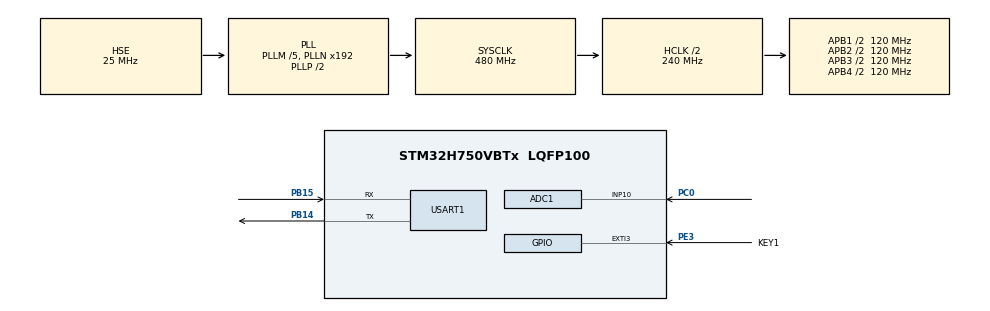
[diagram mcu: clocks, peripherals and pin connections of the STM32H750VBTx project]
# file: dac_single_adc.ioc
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ADC1.Channel-0\#ChannelRegularConversion=ADC_CHANNEL_10
ADC1.ConversionDataManagement=ADC_CONVERSIONDATA_DMA_CIRCULAR
ADC1.ExternalTrigConv=ADC_EXTERNALTRIG_T15_TRGO
ADC1.NbrOfConversionFlag=1
ADC1.OffsetNumber-0\#ChannelRegularConversion=ADC_OFFSET_NONE
ADC1.OffsetSignedSaturation-0\#ChannelRegularConversion=DISABLE
ADC1.Rank-0\#ChannelRegularConversion=1
ADC1.SamplingTime-0\#ChannelRegularConversion=ADC_SAMPLETIME_1CYCLE_5
ADC1.master=1
CORTEX_M7.AccessPermission-Cortex_Memory_Protection_Unit_Region0_Settings=MPU_REGION_FULL_ACCESS
CORTEX_M7.AccessPermission-Cortex_Memory_Protection_Unit_Region1_Settings=MPU_REGION_FULL_ACCESS
CORTEX_M7.AccessPermission-Cortex_Memory_Protection_Unit_Region2_Settings=MPU_REGION_FULL_ACCESS
CORTEX_M7.AccessPermission-Cortex_Memory_Protection_Unit_Region3_Settings=MPU_REGION_FULL_ACCESS
CORTEX_M7.AccessPermission-Cortex_Memory_Protection_Unit_Region4_Settings=MPU_REGION_FULL_ACCESS
CORTEX_M7.BaseAddress-Cortex_Memory_Protection_Unit_Region0_Settings=0x24000000
CORTEX_M7.BaseAddress-Cortex_Memory_Protection_Unit_Region1_Settings=0x30000000
CORTEX_M7.BaseAddress-Cortex_Memory_Protection_Unit_Region2_Settings=0x30020000
CORTEX_M7.BaseAddress-Cortex_Memory_Protection_Unit_Region3_Settings=0x30040000
CORTEX_M7.BaseAddress-Cortex_Memory_Protection_Unit_Region4_Settings=0x38000000
CORTEX_M7.CPU_DCache=Enabled
CORTEX_M7.CPU_ICache=Enabled
CORTEX_M7.Enable-Cortex_Memory_Protection_Unit_Region0_Settings=MPU_REGION_ENABLE
CORTEX_M7.Enable-Cortex_Memory_Protection_Unit_Region1_Settings=MPU_REGION_ENABLE
CORTEX_M7.Enable-Cortex_Memory_Protection_Unit_Region2_Settings=MPU_REGION_ENABLE
CORTEX_M7.Enable-Cortex_Memory_Protection_Unit_Region3_Settings=MPU_REGION_ENABLE
CORTEX_M7.Enable-Cortex_Memory_Protection_Unit_Region4_Settings=MPU_REGION_ENABLE
CORTEX_M7.IsBufferable-Cortex_Memory_Protection_Unit_Region0_Settings=MPU_ACCESS_BUFFERABLE
CORTEX_M7.IsCacheable-Cortex_Memory_Protection_Unit_Region0_Settings=MPU_ACCESS_CACHEABLE
CORTEX_M7.MPU_Control=MPU_PRIVILEGED_DEFAULT
CORTEX_M7.Size-Cortex_Memory_Protection_Unit_Region0_Settings=MPU_REGION_SIZE_512KB
CORTEX_M7.Size-Cortex_Memory_Protection_Unit_Region1_Settings=MPU_REGION_SIZE_128KB
CORTEX_M7.Size-Cortex_Memory_Protection_Unit_Region2_Settings=MPU_REGION_SIZE_128KB
CORTEX_M7.Size-Cortex_Memory_Protection_Unit_Region3_Settings=MPU_REGION_SIZE_32KB
CORTEX_M7.Size-Cortex_Memory_Protection_Unit_Region4_Settings=MPU_REGION_SIZE_64KB
CORTEX_M7.TypeExtField-Cortex_Memory_Protection_Unit_Region0_Settings=MPU_TEX_LEVEL1
CORTEX_M7.TypeExtField-Cortex_Memory_Protection_Unit_Region1_Settings=MPU_TEX_LEVEL1
CORTEX_M7.TypeExtField-Cortex_Memory_Protection_Unit_Region2_Settings=MPU_TEX_LEVEL1
CORTEX_M7.TypeExtField-Cortex_Memory_Protection_Unit_Region3_Settings=MPU_TEX_LEVEL1
CORTEX_M7.TypeExtField-Cortex_Memory_Protection_Unit_Region4_Settings=MPU_TEX_LEVEL1
Dma.ADC1.0.Direction=DMA_PERIPH_TO_MEMORY
Dma.ADC1.0.EventEnable=DISABLE
Dma.ADC1.0.FIFOMode=DMA_FIFOMODE_DISABLE
Dma.ADC1.0.Instance=DMA1_Stream0
Dma.ADC1.0.MemDataAlignment=DMA_MDATAALIGN_HALFWORD
Dma.ADC1.0.MemInc=DMA_MINC_ENABLE
Dma.ADC1.0.Mode=DMA_NORMAL
Dma.ADC1.0.PeriphDataAlignment=DMA_PDATAALIGN_HALFWORD
Dma.ADC1.0.PeriphInc=DMA_PINC_DISABLE
Dma.ADC1.0.Polarity=HAL_DMAMUX_REQ_GEN_RISING
Dma.ADC1.0.Priority=DMA_PRIORITY_LOW
Dma.ADC1.0.RequestNumber=1
Dma.ADC1.0.SignalID=NONE
Dma.ADC1.0.SyncEnable=DISABLE
Dma.ADC1.0.SyncPolarity=HAL_DMAMUX_SYNC_NO_EVENT
Dma.ADC1.0.SyncRequestNumber=1
Dma.ADC1.0.SyncSignalID=NONE
Dma.Request0=ADC1
Mcu.Family=STM32H7
Mcu.Name=STM32H750VBTx
Mcu.Package=LQFP100
NVIC.DMA1_Stream0_IRQn=true\:0\:0\:false\:false\:true\:false\:true\:true
NVIC.EXTI3_IRQn=true\:0\:0\:false\:false\:true\:true\:true\:true
NVIC.PriorityGroup=NVIC_PRIORITYGROUP_4
PA13\ (JTMS/SWDIO).Mode=Serial_Wire
PA13\ (JTMS/SWDIO).Signal=DEBUG_JTMS-SWDIO
PA14\ (JTCK/SWCLK).Mode=Serial_Wire
PA14\ (JTCK/SWCLK).Signal=DEBUG_JTCK-SWCLK
PB14.Mode=Asynchronous
PB14.Signal=USART1_TX
PB15.Mode=Asynchronous
PB15.Signal=USART1_RX
PC0.Signal=ADCx_INP10
PE3.GPIO_Label=KEY1
PE3.GPIO_ModeDefaultEXTI=GPIO_MODE_IT_FALLING
PE3.GPIO_PuPd=GPIO_PULLUP
PE3.Signal=GPXTI3
PH0-OSC_IN\ (PH0).Mode=HSE-External-Oscillator
PH0-OSC_IN\ (PH0).Signal=RCC_OSC_IN
PH1-OSC_OUT\ (PH1).Mode=HSE-External-Oscillator
PH1-OSC_OUT\ (PH1).Signal=RCC_OSC_OUT
ProjectManager.HeapSize=0x200
ProjectManager.StackSize=0x7400
ProjectManager.TargetToolchain=MDK-ARM V5.32
RCC.ADCFreq_Value=72000000
RCC.APB1Freq_Value=120000000
RCC.APB2Freq_Value=120000000
RCC.APB3Freq_Value=120000000
RCC.APB4Freq_Value=120000000
RCC.CortexFreq_Value=480000000
RCC.D1PPRE=RCC_APB3_DIV2
RCC.D2PPRE1=RCC_APB1_DIV2
RCC.D2PPRE2=RCC_APB2_DIV2
RCC.D3PPRE=RCC_APB4_DIV2
RCC.DIVM1=5
RCC.DIVM2=25
RCC.DIVN1=192
RCC.DIVN2=360
RCC.DIVP2=5
RCC.HCLKFreq_Value=240000000
RCC.HPRE=RCC_HCLK_DIV2
RCC.PLLSourceVirtual=RCC_PLLSOURCE_HSE
RCC.ProductRev=revV
RCC.SYSCLKFreq_VALUE=480000000
RCC.SYSCLKSource=RCC_SYSCLKSOURCE_PLLCLK
RCC.USBFreq_Value=480000000
SH.ADCx_INP10.0=ADC1_INP10,IN10-Single-Ended
TIM15.Period=80-1
TIM15.Prescaler=1-1
TIM15.TIM_MasterOutputTrigger=TIM_TRGO_UPDATE
TIM7.Prescaler=239
USART1.VirtualMode-Asynchronous=VM_ASYNC
VP_TIM15_VS_ClockSourceINT.Mode=Internal
VP_TIM7_VS_ClockSourceINT.Mode=Enable_Timer
board=custom

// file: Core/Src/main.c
/* USER CODE BEGIN Header */
/**
  ******************************************************************************
  * @file           : main.c
  * @brief          : Main program body
  ******************************************************************************
  * @attention
  *
  * Copyright (c) 2023 STMicroelectronics.
  * All rights reserved.
  *
  * This software is licensed under terms that can be found in the LICENSE file
  * in the root directory of this software component.
  * If no LICENSE file comes with this software, it is provided AS-IS.
  *
  ******************************************************************************
  */
/* USER CODE END Header */
#include "main.h"
#include "adc.h"
#include "dma.h"
#include "tim.h"
#include "usart.h"
#include "gpio.h"

/* USER CODE BEGIN PTD */
ALIGN_32BYTES (uint16_t adc1_data[FFT_LENGTH]) 	__attribute__((section(".ARM.__at_0x30000000")));
__IO uint8_t AdcConvEnd = 0;//表示adc采集完成

uint8_t KEY_state=0;
unsigned char buffer[50];

void adc_init(void)
{
	printf("start_adc\n");
	MX_ADC1_Init();	//初始化调用放这里, 确保在MX_DMA_Init()初始化后靿
//	TIM15->PSC =5-1;
	HAL_Delay(100);	//有地方说这里可以等等电压稳定后再校准
	if (HAL_ADCEx_Calibration_Start(&hadc1, ADC_CALIB_OFFSET, ADC_SINGLE_ENDED) != HAL_OK)
	{
			printf("hadc1 error with HAL_ADCEx_Calibration_Start\r\n");
			Error_Handler();
	}

	if (HAL_ADC_Start_DMA(&hadc1, (uint32_t *)adc1_data, FFT_LENGTH) != HAL_OK)
	{
			printf("hadc1 error with HAL_ADC_Start_DMA\r\n");
			Error_Handler();
	}

	HAL_TIM_Base_Start(&htim15);
	while (!AdcConvEnd);
	AdcConvEnd = 0;
	HAL_ADC_DeInit(&hadc1);			//逆初始化
	HAL_TIM_Base_Stop(&htim15);
}

/* USER CODE END PTD */

void SystemClock_Config(void);
static void MPU_Initialize(void);
static void MPU_Config(void);

int main(void)
{

  /* Enable I-Cache---------------------------------------------------------*/
  SCB_EnableICache();

  /* Enable D-Cache---------------------------------------------------------*/
  SCB_EnableDCache();

  /* MCU Configuration--------------------------------------------------------*/

  /* Reset of all peripherals, Initializes the Flash interface and the Systick. */
  HAL_Init();

  /* MPU Configuration--------------------------------------------------------*/
  MPU_Config();

  /* Configure the system clock */
  SystemClock_Config();

  /* Initialize all configured peripherals */
  MX_GPIO_Init();
  MX_DMA_Init();
  MX_USART1_UART_Init();
  MX_ADC1_Init();
  MX_TIM7_Init();
  MX_TIM15_Init();
  /* USER CODE BEGIN 2 */

	printf("start\n");

  /* USER CODE END 2 */

  /* Infinite loop */
  while (1)
  {

    /* USER CODE BEGIN 3 */
		if(KEY_state==1)
		{
			KEY_state=0;
			adc_init();
			FFT_Init();
			FFT_DIS();

//			float voltage = 0;
//			for (u16 temp = 0 ;temp < FFT_LENGTH ;temp++)
//			{
//				voltage = adc1_data[temp]*3.3/65535;
//				printf("%f\r\n",voltage);
//		//		printf("%d\r\n",adc1_data[temp]);
//			}
		}
				// 开始发送
			startValuePack(buffer);

		// 将要回传的值放入，注意顺序为 Bool->Byte->Short->Int->Float
			putBool(0);
			putBool(1);
			putBool(0);
			putBool(0);
			putShort(3123);
			putInt(3124);
			putFloat(31.25);

		// 通过串口发送，endValuePack返回了数据包的总长度
			sendBuffer(buffer,endValuePack());

  }
  /* USER CODE END 3 */
}

void SystemClock_Config(void)
{
  RCC_OscInitTypeDef RCC_OscInitStruct = {0};
  RCC_ClkInitTypeDef RCC_ClkInitStruct = {0};

  /** Supply configuration update enable
  */
  HAL_PWREx_ConfigSupply(PWR_LDO_SUPPLY);

  /** Configure the main internal regulator output voltage
  */
  __HAL_PWR_VOLTAGESCALING_CONFIG(PWR_REGULATOR_VOLTAGE_SCALE1);

  while(!__HAL_PWR_GET_FLAG(PWR_FLAG_VOSRDY)) {}

  __HAL_RCC_SYSCFG_CLK_ENABLE();
  __HAL_PWR_VOLTAGESCALING_CONFIG(PWR_REGULATOR_VOLTAGE_SCALE0);

  while(!__HAL_PWR_GET_FLAG(PWR_FLAG_VOSRDY)) {}

  /** Initializes the RCC Oscillators according to the specified parameters
  * in the RCC_OscInitTypeDef structure.
  */
  RCC_OscInitStruct.OscillatorType = RCC_OSCILLATORTYPE_HSE;
  RCC_OscInitStruct.HSEState = RCC_HSE_ON;
  RCC_OscInitStruct.PLL.PLLState = RCC_PLL_ON;
  RCC_OscInitStruct.PLL.PLLSource = RCC_PLLSOURCE_HSE;
  RCC_OscInitStruct.PLL.PLLM = 5;
  RCC_OscInitStruct.PLL.PLLN = 192;
  RCC_OscInitStruct.PLL.PLLP = 2;
  RCC_OscInitStruct.PLL.PLLQ = 2;
  RCC_OscInitStruct.PLL.PLLR = 2;
  RCC_OscInitStruct.PLL.PLLRGE = RCC_PLL1VCIRANGE_2;
  RCC_OscInitStruct.PLL.PLLVCOSEL = RCC_PLL1VCOWIDE;
  RCC_OscInitStruct.PLL.PLLFRACN = 0;
  if (HAL_RCC_OscConfig(&RCC_OscInitStruct) != HAL_OK)
  {
    Error_Handler();
  }

  /** Initializes the CPU, AHB and APB buses clocks
  */
  RCC_ClkInitStruct.ClockType = RCC_CLOCKTYPE_HCLK|RCC_CLOCKTYPE_SYSCLK
                              |RCC_CLOCKTYPE_PCLK1|RCC_CLOCKTYPE_PCLK2
                              |RCC_CLOCKTYPE_D3PCLK1|RCC_CLOCKTYPE_D1PCLK1;
  RCC_ClkInitStruct.SYSCLKSource = RCC_SYSCLKSOURCE_PLLCLK;
  RCC_ClkInitStruct.SYSCLKDivider = RCC_SYSCLK_DIV1;
  RCC_ClkInitStruct.AHBCLKDivider = RCC_HCLK_DIV2;
  RCC_ClkInitStruct.APB3CLKDivider = RCC_APB3_DIV2;
  RCC_ClkInitStruct.APB1CLKDivider = RCC_APB1_DIV2;
  RCC_ClkInitStruct.APB2CLKDivider = RCC_APB2_DIV2;
  RCC_ClkInitStruct.APB4CLKDivider = RCC_APB4_DIV2;

  if (HAL_RCC_ClockConfig(&RCC_ClkInitStruct, FLASH_LATENCY_4) != HAL_OK)
  {
    Error_Handler();
  }
}

/* USER CODE BEGIN 4 */

void HAL_ADC_ConvCpltCallback(ADC_HandleTypeDef* hadc)
{
   if(hadc->Instance == ADC1)
	{
      //SCB_InvalidateDCache_by_Addr((uint32_t *) &adc1_data[0], ADC1_BUFFER_SIZE);
		AdcConvEnd = 1;
  }
}

void HAL_GPIO_EXTI_Callback(uint16_t GPIO_Pin)
{
	if(GPIO_Pin == KEY1_Pin)
	{
		KEY_state=1;
		printf("KEY1press\n");
	}
}

/* USER CODE END 4 */

/* MPU Configuration */

void MPU_Config(void)
{
  MPU_Region_InitTypeDef MPU_InitStruct = {0};

  /* Disables the MPU */
  HAL_MPU_Disable();

  /** Initializes and configures the Region and the memory to be protected
  */
  MPU_InitStruct.Enable = MPU_REGION_ENABLE;
  MPU_InitStruct.Number = MPU_REGION_NUMBER0;
  MPU_InitStruct.BaseAddress = 0x24000000;
  MPU_InitStruct.Size = MPU_REGION_SIZE_512KB;
  MPU_InitStruct.SubRegionDisable = 0x0;
  MPU_InitStruct.TypeExtField = MPU_TEX_LEVEL1;
  MPU_InitStruct.AccessPermission = MPU_REGION_FULL_ACCESS;
  MPU_InitStruct.DisableExec = MPU_INSTRUCTION_ACCESS_ENABLE;
  MPU_InitStruct.IsShareable = MPU_ACCESS_NOT_SHAREABLE;
  MPU_InitStruct.IsCacheable = MPU_ACCESS_CACHEABLE;
  MPU_InitStruct.IsBufferable = MPU_ACCESS_BUFFERABLE;

  HAL_MPU_ConfigRegion(&MPU_InitStruct);

  /** Initializes and configures the Region and the memory to be protected
  */
  MPU_InitStruct.Number = MPU_REGION_NUMBER1;
  MPU_InitStruct.BaseAddress = 0x30000000;
  MPU_InitStruct.Size = MPU_REGION_SIZE_128KB;
  MPU_InitStruct.IsCacheable = MPU_ACCESS_NOT_CACHEABLE;
  MPU_InitStruct.IsBufferable = MPU_ACCESS_NOT_BUFFERABLE;

  HAL_MPU_ConfigRegion(&MPU_InitStruct);

  /** Initializes and configures the Region and the memory to be protected
  */
  MPU_InitStruct.Number = MPU_REGION_NUMBER2;
  MPU_InitStruct.BaseAddress = 0x30020000;

  HAL_MPU_ConfigRegion(&MPU_InitStruct);

  /** Initializes and configures the Region and the memory to be protected
  */
  MPU_InitStruct.Number = MPU_REGION_NUMBER3;
  MPU_InitStruct.BaseAddress = 0x30040000;
  MPU_InitStruct.Size = MPU_REGION_SIZE_32KB;

  HAL_MPU_ConfigRegion(&MPU_InitStruct);

  /** Initializes and configures the Region and the memory to be protected
  */
  MPU_InitStruct.Number = MPU_REGION_NUMBER4;
  MPU_InitStruct.BaseAddress = 0x38000000;
  MPU_InitStruct.Size = MPU_REGION_SIZE_64KB;

  HAL_MPU_ConfigRegion(&MPU_InitStruct);
  /* Enables the MPU */
  HAL_MPU_Enable(MPU_PRIVILEGED_DEFAULT);

}

void Error_Handler(void)
{
  __disable_irq();
  while (1)
  {
  }
}
